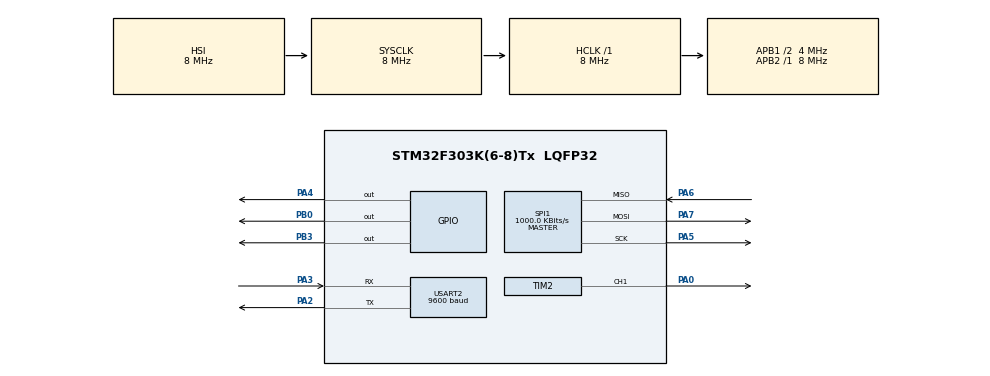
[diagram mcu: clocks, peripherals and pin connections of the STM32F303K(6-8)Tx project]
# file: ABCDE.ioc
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Mcu.Family=STM32F3
Mcu.Name=STM32F303K(6-8)Tx
Mcu.Package=LQFP32
NVIC.PriorityGroup=NVIC_PRIORITYGROUP_4
NVIC.USART2_IRQn=true\:0\:0\:false\:false\:true\:true\:true\:true
PA0.Signal=S_TIM2_CH1_ETR
PA13.Mode=Serial_Wire
PA13.Signal=SYS_JTMS-SWDIO
PA14.Mode=Serial_Wire
PA14.Signal=SYS_JTCK-SWCLK
PA2.Mode=Asynchronous
PA2.Signal=USART2_TX
PA3.Mode=Asynchronous
PA3.Signal=USART2_RX
PA4.Signal=GPIO_Output
PA5.Mode=Full_Duplex_Master
PA5.Signal=SPI1_SCK
PA6.Mode=Full_Duplex_Master
PA6.Signal=SPI1_MISO
PA7.Mode=Full_Duplex_Master
PA7.Signal=SPI1_MOSI
PB0.Signal=GPIO_Output
PB3.Signal=GPIO_Output
PF0\ /\ OSC_IN.Mode=HSE-External-Oscillator
PF0\ /\ OSC_IN.Signal=RCC_OSC_IN
PF1\ /\ OSC_OUT.Mode=HSE-External-Oscillator
PF1\ /\ OSC_OUT.Signal=RCC_OSC_OUT
ProjectManager.HeapSize=0x200
ProjectManager.StackSize=0x400
ProjectManager.TargetToolchain=STM32CubeIDE
RCC.AHBFreq_Value=8000000
RCC.APB1CLKDivider=RCC_HCLK_DIV2
RCC.APB1Freq_Value=4000000
RCC.APB1TimFreq_Value=8000000
RCC.APB2Freq_Value=8000000
RCC.APB2TimFreq_Value=8000000
RCC.CortexFreq_Value=8000000
RCC.HCLKFreq_Value=8000000
RCC.HSE_VALUE=8000000
RCC.HSI_VALUE=8000000
RCC.PLLMUL=RCC_PLL_MUL9
RCC.PLLSourceVirtual=RCC_PLLSOURCE_HSE
RCC.SYSCLKFreq_VALUE=8000000
SH.S_TIM2_CH1_ETR.0=TIM2_CH1,PWM Generation1 CH1
SPI1.BaudRatePrescaler=SPI_BAUDRATEPRESCALER_8
SPI1.CalculateBaudRate=1000.0 KBits/s
SPI1.DataSize=SPI_DATASIZE_8BIT
SPI1.Direction=SPI_DIRECTION_2LINES
SPI1.Mode=SPI_MODE_MASTER
SPI1.VirtualType=VM_MASTER
TIM2.Channel-PWM\ Generation1\ CH1=TIM_CHANNEL_1
TIM2.Period=999
TIM2.Prescaler=7
USART2.BaudRate=9600
USART2.VirtualMode-Asynchronous=VM_ASYNC
board=custom

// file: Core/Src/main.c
/* USER CODE BEGIN Header */
/**
  ******************************************************************************
  * @file           : main.c
  * @brief          : Main program body
  ******************************************************************************
  * @attention
  *
  * Copyright (c) 2025 STMicroelectronics.
  * All rights reserved.
  *
  * This software is licensed under terms that can be found in the LICENSE file
  * in the root directory of this software component.
  * If no LICENSE file comes with this software, it is provided AS-IS.
  *
  ******************************************************************************
  */
/* USER CODE END Header */
#include "main.h"

/* USER CODE BEGIN Includes */
#include "rc522.h"
#include "stdio.h"
/* USER CODE END Includes */

SPI_HandleTypeDef hspi1;

TIM_HandleTypeDef htim2;

UART_HandleTypeDef huart2;

/* USER CODE BEGIN PV */
uint8_t status;
uint8_t str[MAX_LEN]; // Max_LEN = 16
uint8_t sNum[5];
char rfidString[30];
uint8_t RxBuffer[1];
uint8_t flag = 0;
/* USER CODE END PV */

void SystemClock_Config(void);
static void MX_GPIO_Init(void);
static void MX_SPI1_Init(void);
static void MX_TIM2_Init(void);
static void MX_USART2_UART_Init(void);

/* USER CODE BEGIN 0 */
int __io_putchar(int ch) {
   HAL_UART_Transmit(&huart2, (uint8_t *)&ch, 1, 1000);
   if (ch == '\n') {
      HAL_UART_Transmit(&huart2, (uint8_t *)"\r", 1, 1000);
   }
   return ch;
}

/* USER CODE END 0 */

int main(void)
{

  /* MCU Configuration--------------------------------------------------------*/

  /* Reset of all peripherals, Initializes the Flash interface and the Systick. */
  HAL_Init();

  /* Configure the system clock */
  SystemClock_Config();

  /* Initialize all configured peripherals */
  MX_GPIO_Init();
  MX_SPI1_Init();
  MX_TIM2_Init();
  MX_USART2_UART_Init();
  /* USER CODE BEGIN 2 */
  HAL_UART_Receive_IT(&huart2, RxBuffer, 1);
MFRC522_Init();
__HAL_TIM_SET_AUTORELOAD(&htim2, 999);
__HAL_TIM_SET_COMPARE(&htim2, TIM_CHANNEL_1, 0);

  /* USER CODE END 2 */

  /* Infinite loop */
  /* USER CODE BEGIN WHILE */
  while (1)
  {

		status = MFRC522_Request(PICC_REQIDL, str);
		status = MFRC522_Anticoll(str);
		memcpy(sNum, str, 5);
		HAL_Delay(100);
		sprintf(rfidString, "%x %x %x %x\n", str[0], str[1], str[2], str[3]);
		printf("%s", rfidString);
		fflush(stdout);

	  switch(flag) {
	  	  	  case 1:
	  	  		  __HAL_TIM_SET_COMPARE(&htim2, TIM_CHANNEL_1, 10);
	  	  		  HAL_TIM_PWM_Start(&htim2, TIM_CHANNEL_1);
	              HAL_Delay(300);
	              HAL_TIM_PWM_Stop(&htim2, TIM_CHANNEL_1);
	              break;
	          case 2:
	        	  __HAL_TIM_SET_COMPARE(&htim2, TIM_CHANNEL_1, 700);
	        	  HAL_TIM_PWM_Start(&htim2, TIM_CHANNEL_1);
	              HAL_Delay(300);
	              HAL_TIM_PWM_Stop(&htim2, TIM_CHANNEL_1);
	              break;
	  	  }
	  	  flag=0;
	  	  HAL_Delay(1000);
    /* USER CODE END WHILE */

  }
}

void SystemClock_Config(void)
{
  RCC_OscInitTypeDef RCC_OscInitStruct = {0};
  RCC_ClkInitTypeDef RCC_ClkInitStruct = {0};

  /** Initializes the RCC Oscillators according to the specified parameters
  * in the RCC_OscInitTypeDef structure.
  */
  RCC_OscInitStruct.OscillatorType = RCC_OSCILLATORTYPE_HSI;
  RCC_OscInitStruct.HSIState = RCC_HSI_ON;
  RCC_OscInitStruct.HSICalibrationValue = RCC_HSICALIBRATION_DEFAULT;
  RCC_OscInitStruct.PLL.PLLState = RCC_PLL_NONE;
  if (HAL_RCC_OscConfig(&RCC_OscInitStruct) != HAL_OK)
  {
    Error_Handler();
  }

  /** Initializes the CPU, AHB and APB buses clocks
  */
  RCC_ClkInitStruct.ClockType = RCC_CLOCKTYPE_HCLK|RCC_CLOCKTYPE_SYSCLK
                              |RCC_CLOCKTYPE_PCLK1|RCC_CLOCKTYPE_PCLK2;
  RCC_ClkInitStruct.SYSCLKSource = RCC_SYSCLKSOURCE_HSI;
  RCC_ClkInitStruct.AHBCLKDivider = RCC_SYSCLK_DIV1;
  RCC_ClkInitStruct.APB1CLKDivider = RCC_HCLK_DIV2;
  RCC_ClkInitStruct.APB2CLKDivider = RCC_HCLK_DIV1;

  if (HAL_RCC_ClockConfig(&RCC_ClkInitStruct, FLASH_LATENCY_0) != HAL_OK)
  {
    Error_Handler();
  }
}

static void MX_SPI1_Init(void)
{

  /* SPI1 parameter configuration*/
  hspi1.Instance = SPI1;
  hspi1.Init.Mode = SPI_MODE_MASTER;
  hspi1.Init.Direction = SPI_DIRECTION_2LINES;
  hspi1.Init.DataSize = SPI_DATASIZE_8BIT;
  hspi1.Init.CLKPolarity = SPI_POLARITY_LOW;
  hspi1.Init.CLKPhase = SPI_PHASE_1EDGE;
  hspi1.Init.NSS = SPI_NSS_SOFT;
  hspi1.Init.BaudRatePrescaler = SPI_BAUDRATEPRESCALER_8;
  hspi1.Init.FirstBit = SPI_FIRSTBIT_MSB;
  hspi1.Init.TIMode = SPI_TIMODE_DISABLE;
  hspi1.Init.CRCCalculation = SPI_CRCCALCULATION_DISABLE;
  hspi1.Init.CRCPolynomial = 7;
  hspi1.Init.CRCLength = SPI_CRC_LENGTH_DATASIZE;
  hspi1.Init.NSSPMode = SPI_NSS_PULSE_ENABLE;
  if (HAL_SPI_Init(&hspi1) != HAL_OK)
  {
    Error_Handler();
  }

}

static void MX_TIM2_Init(void)
{

  TIM_MasterConfigTypeDef sMasterConfig = {0};
  TIM_OC_InitTypeDef sConfigOC = {0};

  htim2.Instance = TIM2;
  htim2.Init.Prescaler = 7;
  htim2.Init.CounterMode = TIM_COUNTERMODE_UP;
  htim2.Init.Period = 999;
  htim2.Init.ClockDivision = TIM_CLOCKDIVISION_DIV1;
  htim2.Init.AutoReloadPreload = TIM_AUTORELOAD_PRELOAD_DISABLE;
  if (HAL_TIM_PWM_Init(&htim2) != HAL_OK)
  {
    Error_Handler();
  }
  sMasterConfig.MasterOutputTrigger = TIM_TRGO_RESET;
  sMasterConfig.MasterSlaveMode = TIM_MASTERSLAVEMODE_DISABLE;
  if (HAL_TIMEx_MasterConfigSynchronization(&htim2, &sMasterConfig) != HAL_OK)
  {
    Error_Handler();
  }
  sConfigOC.OCMode = TIM_OCMODE_PWM1;
  sConfigOC.Pulse = 0;
  sConfigOC.OCPolarity = TIM_OCPOLARITY_HIGH;
  sConfigOC.OCFastMode = TIM_OCFAST_DISABLE;
  if (HAL_TIM_PWM_ConfigChannel(&htim2, &sConfigOC, TIM_CHANNEL_1) != HAL_OK)
  {
    Error_Handler();
  }
  HAL_TIM_MspPostInit(&htim2);

}

static void MX_USART2_UART_Init(void)
{

  huart2.Instance = USART2;
  huart2.Init.BaudRate = 9600;
  huart2.Init.WordLength = UART_WORDLENGTH_8B;
  huart2.Init.StopBits = UART_STOPBITS_1;
  huart2.Init.Parity = UART_PARITY_NONE;
  huart2.Init.Mode = UART_MODE_TX_RX;
  huart2.Init.HwFlowCtl = UART_HWCONTROL_NONE;
  huart2.Init.OverSampling = UART_OVERSAMPLING_16;
  huart2.Init.OneBitSampling = UART_ONE_BIT_SAMPLE_DISABLE;
  huart2.AdvancedInit.AdvFeatureInit = UART_ADVFEATURE_NO_INIT;
  if (HAL_UART_Init(&huart2) != HAL_OK)
  {
    Error_Handler();
  }

}

static void MX_GPIO_Init(void)
{
  GPIO_InitTypeDef GPIO_InitStruct = {0};

  /* GPIO Ports Clock Enable */
  __HAL_RCC_GPIOF_CLK_ENABLE();
  __HAL_RCC_GPIOA_CLK_ENABLE();
  __HAL_RCC_GPIOB_CLK_ENABLE();

  /*Configure GPIO pin Output Level */
  HAL_GPIO_WritePin(GPIOA, GPIO_PIN_4, GPIO_PIN_RESET);

  /*Configure GPIO pin Output Level */
  HAL_GPIO_WritePin(GPIOB, GPIO_PIN_0|GPIO_PIN_3, GPIO_PIN_RESET);

  /*Configure GPIO pin : PA4 */
  GPIO_InitStruct.Pin = GPIO_PIN_4;
  GPIO_InitStruct.Mode = GPIO_MODE_OUTPUT_PP;
  GPIO_InitStruct.Pull = GPIO_NOPULL;
  GPIO_InitStruct.Speed = GPIO_SPEED_FREQ_LOW;
  HAL_GPIO_Init(GPIOA, &GPIO_InitStruct);

  /*Configure GPIO pins : PB0 PB3 */
  GPIO_InitStruct.Pin = GPIO_PIN_0|GPIO_PIN_3;
  GPIO_InitStruct.Mode = GPIO_MODE_OUTPUT_PP;
  GPIO_InitStruct.Pull = GPIO_NOPULL;
  GPIO_InitStruct.Speed = GPIO_SPEED_FREQ_LOW;
  HAL_GPIO_Init(GPIOB, &GPIO_InitStruct);

}

/* USER CODE BEGIN 4 */
void HAL_UART_RxCpltCallback(UART_HandleTypeDef *huart) {
  if (huart->Instance == USART2) {
	  if (RxBuffer[0] == '0'){
	  			flag=1;
	  		}
	  		else if (RxBuffer[0] == '1'){
	  			flag=2;
	  		}

  }
  HAL_UART_Receive_IT(&huart2, RxBuffer, 1);
}
/* USER CODE END 4 */

void Error_Handler(void)
{
  __disable_irq();
  while (1)
  {
  }
}
